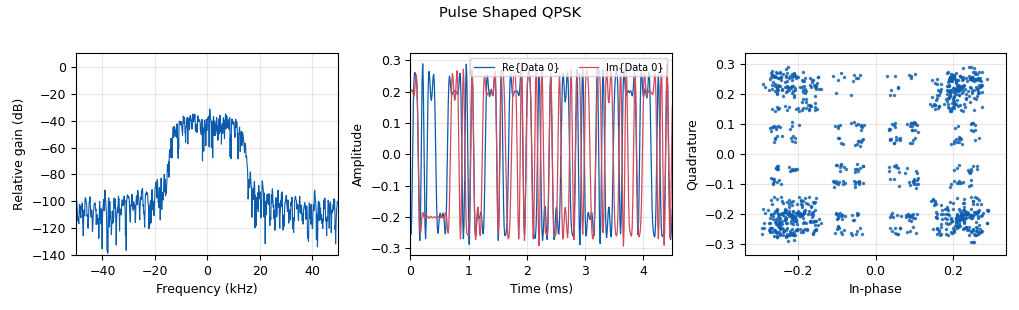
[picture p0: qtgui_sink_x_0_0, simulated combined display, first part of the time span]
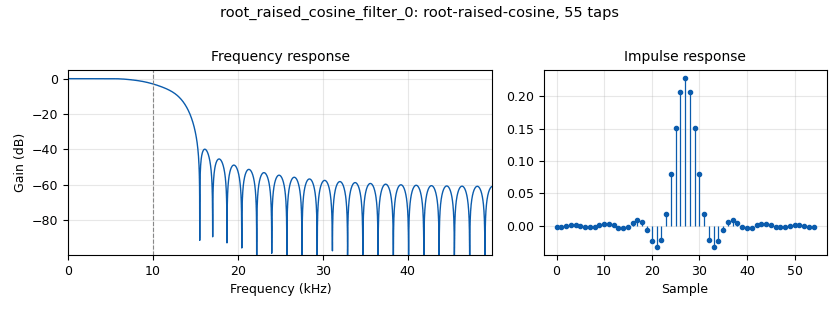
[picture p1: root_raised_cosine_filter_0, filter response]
options:
  parameters:
    author: rohan
    generate_options: qt_gui
    id: task3
    output_language: python
    title: Not titled yet
  states: {}

blocks:
- name: const_points
  id: variable
  parameters:
    value: '4'
  states: {}
- name: samp_rate
  id: variable
  parameters:
    value: symb_rate*sps
  states: {}
- name: sps
  id: variable
  parameters:
    value: '5'
  states: {}
- name: symb_rate
  id: variable
  parameters:
    value: 20e3
  states: {}
- name: analog_random_source_x_0
  id: analog_random_source_x
  parameters:
    max: const_points
    min: '0'
    num_samps: '1000'
    repeat: 'True'
    type: byte
  states: {}
- name: analog_sig_source_x_0
  id: analog_sig_source_x
  parameters:
    amp: '1'
    freq: 100e3
    offset: '0'
    phase: '0'
    samp_rate: 500e3
    type: complex
    waveform: analog.GR_COS_WAVE
  states: {}
- name: blocks_complex_to_real_0
  id: blocks_complex_to_real
  parameters: {}
  states: {}
- name: blocks_multiply_xx_0
  id: blocks_multiply_xx
  parameters:
    type: complex
  states: {}
- name: blocks_null_sink_0
  id: blocks_null_sink
  parameters:
    type: float
  states: {}
- name: digital_chunks_to_symbols_xx_0
  id: digital_chunks_to_symbols_xx
  parameters:
    dimension: '1'
    in_type: byte
    out_type: complex
    symbol_table: '[(1-1j),(1+1j),(-1-1j),(-1+1j)]'
  states: {}
- name: interp_fir_filter_xxx_0
  id: interp_fir_filter_xxx
  parameters:
    interp: sps
    taps: '[1]'
    type: ccc
  states: {}
- name: qtgui_sink_x_0
  id: qtgui_sink_x
  parameters:
    bw: samp_rate
    fc: '0'
    fftsize: '1024'
    name: '"Ideal QPSK"'
    type: complex
  states: {state: disabled}
- name: qtgui_sink_x_0_0
  id: qtgui_sink_x
  parameters:
    bw: samp_rate
    fc: '0'
    fftsize: '1024'
    name: '"Pulse Shaped QPSK"'
    type: complex
  states: {}
- name: qtgui_sink_x_1
  id: qtgui_sink_x
  parameters:
    bw: samp_rate*5
    fc: '0'
    fftsize: '1024'
    type: float
  states: {state: disabled}
- name: rational_resampler_xxx_0
  id: rational_resampler_xxx
  parameters:
    decim: '1'
    interp: '5'
    type: ccc
  states: {}
- name: root_raised_cosine_filter_0
  id: root_raised_cosine_filter
  parameters:
    alpha: '0.5'
    decim: '1'
    gain: '1'
    ntaps: 11*sps
    samp_rate: samp_rate
    sym_rate: symb_rate
    type: fir_filter_ccf
  states: {}

connections:
- [analog_random_source_x_0, '0', digital_chunks_to_symbols_xx_0, '0']
- [analog_sig_source_x_0, '0', blocks_multiply_xx_0, '1']
- [blocks_complex_to_real_0, '0', blocks_null_sink_0, '0']
- [blocks_complex_to_real_0, '0', qtgui_sink_x_1, '0']
- [blocks_multiply_xx_0, '0', blocks_complex_to_real_0, '0']
- [digital_chunks_to_symbols_xx_0, '0', interp_fir_filter_xxx_0, '0']
- [digital_chunks_to_symbols_xx_0, '0', qtgui_sink_x_0, '0']
- [interp_fir_filter_xxx_0, '0', root_raised_cosine_filter_0, '0']
- [rational_resampler_xxx_0, '0', blocks_multiply_xx_0, '0']
- [root_raised_cosine_filter_0, '0', qtgui_sink_x_0_0, '0']
- [root_raised_cosine_filter_0, '0', rational_resampler_xxx_0, '0']

metadata:
  file_format: 1
